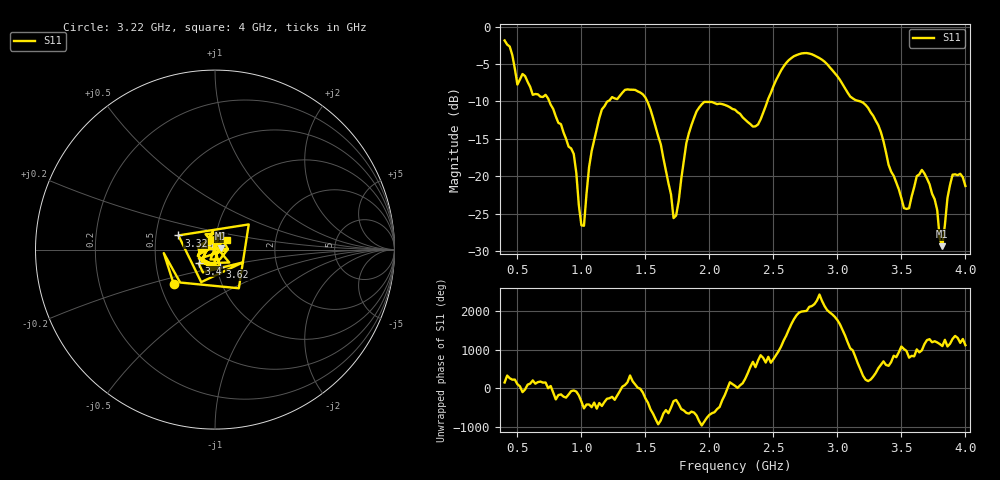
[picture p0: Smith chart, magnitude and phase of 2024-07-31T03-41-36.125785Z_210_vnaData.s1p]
!Created with skrf (http://scikit-rf.org).
# Hz S RI R 50.0
!freq ReS11 ImS11
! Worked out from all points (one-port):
!   181 points, 400 MHz to 4 GHz, reference 50 ohm
!   lowest |S11| = -29.4 dB at 3.82 GHz (marker M1), VSWR 1.07, Z = 53.4 + j0.816 ohm
!   |S11| at or under -10 dB: 749.3 MHz to 1.205 GHz (455.7 MHz wide, 46.6 % of centre); 1.515 GHz to 2.453 GHz (938 MHz wide, 47.3 % of centre); 3.179 GHz to end of sweep
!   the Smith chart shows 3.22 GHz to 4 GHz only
!   S11 on the Smith chart (normalised r, x): 3.22 GHz: 0.59, -0.25; 3.32 GHz: 0.65, +0.11; 3.4 GHz: 0.82, -0.13; 3.62 GHz: 1.04, -0.20; 4 GHz: 1.14, +0.12
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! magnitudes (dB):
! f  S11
! 400 MHz  -1.9
! 500 MHz  -7.8
! 720 MHz  -9.1
! 860 MHz  -14.1
! 940 MHz  -17.0
! 1.02 GHz  -26.6
! 1.06 GHz  -18.8
! 1.14 GHz  -12.2
! 1.3 GHz  -9.3
! 1.5 GHz  -9.5
! 1.62 GHz  -15.7
! 1.72 GHz  -25.6
! 1.76 GHz  -23.3
! 1.82 GHz  -15.6
! 1.9 GHz  -11.3
! 2.2 GHz  -11.1
! 2.38 GHz  -13.1
! 2.66 GHz  -4.0
! 3.1 GHz  -9.3
! 3.22 GHz  -10.5
! 3.32 GHz  -13.2
! 3.4 GHz  -18.5
! 3.56 GHz  -24.3
! 3.62 GHz  -20.0
! 3.72 GHz  -21.1
! 3.82 GHz  -29.4
! 3.9 GHz  -19.8
! 4 GHz  -21.3
